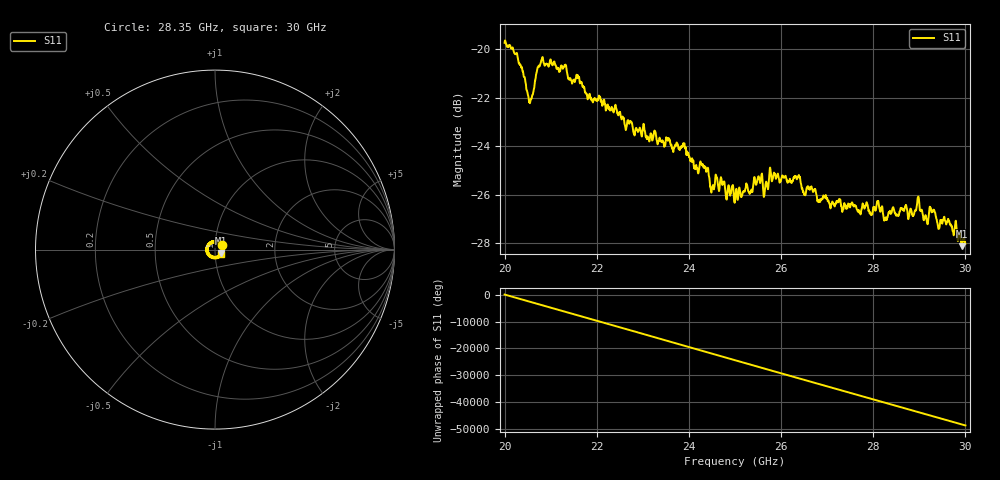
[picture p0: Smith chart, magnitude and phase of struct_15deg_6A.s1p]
#  HZ  S  RI  R  50.00
! Rohde & Schwarz ZVA40 4Ports - Version 3.90 - 1145.1110k42 SN: 100403
! Date: 2023-09-30 05:51:23
! Measurement: S12
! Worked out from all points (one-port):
!   5001 points, 20 GHz to 30 GHz, reference 50 ohm
!   lowest |S11| = -28.1 dB at 29.92 GHz (marker M1), VSWR 1.08, Z = 53.4 - j2.28 ohm
!   |S11| at or under -10 dB: start of sweep to end of sweep
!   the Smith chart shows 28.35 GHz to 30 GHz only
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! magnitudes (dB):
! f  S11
! 20 GHz  -19.7
! 20.28 GHz  -20.3
! 20.55 GHz  -22.2
! 20.79 GHz  -20.5
! 21.25 GHz  -20.7
! 22.5 GHz  -22.6
! 23.11 GHz  -23.6
! 23.75 GHz  -23.9
! 24.16 GHz  -24.8
! 24.37 GHz  -25.1
! 24.5 GHz  -25.7
! 24.72 GHz  -25.6
! 25 GHz  -26.2
! 25.54 GHz  -25.5
! 25.67 GHz  -25.6
! 25.8 GHz  -25.4
! 26.25 GHz  -25.4
! 26.83 GHz  -26.2
! 27.5 GHz  -26.5
! 28.12 GHz  -26.4
! 28.27 GHz  -27.0
! 28.75 GHz  -26.9
! 28.98 GHz  -26.1
! 29.14 GHz  -26.9
! 29.27 GHz  -26.7
! 29.41 GHz  -27.3
! 29.92 GHz  -28.1
! 30 GHz  -28.0
